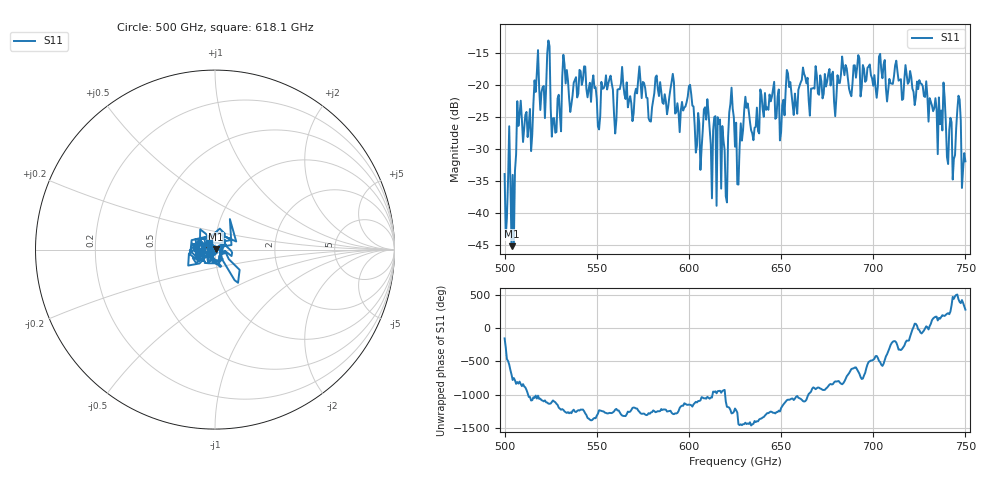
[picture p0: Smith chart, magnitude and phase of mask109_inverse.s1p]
!Created with skrf (http://scikit-rf.org).
# GHz S MA R 50.0
!freq magS11 angS11
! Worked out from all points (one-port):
!   401 points, 500 GHz to 750 GHz, reference 50 ohm
!   lowest |S11| = -45.2 dB at 503.8 GHz (marker M1), VSWR 1.01, Z = 50.5 + j0.202 ohm
!   |S11| at or under -10 dB: start of sweep to end of sweep
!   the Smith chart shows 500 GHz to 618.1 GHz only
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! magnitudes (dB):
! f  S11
! 500 GHz  -33.9
! 503.8 GHz  -45.2
! 505 GHz  -45.2
! 508.1 GHz  -24.5
! 513.8 GHz  -23.7
! 516.9 GHz  -21.0
! 520.6 GHz  -20.3
! 523.8 GHz  -13.0
! 526.9 GHz  -25.1
! 531.2 GHz  -18.8
! 542.5 GHz  -19.1
! 550.6 GHz  -26.5
! 562.5 GHz  -20.6
! 579.4 GHz  -25.7
! 590.6 GHz  -19.4
! 593.8 GHz  -22.8
! 600.6 GHz  -19.9
! 605 GHz  -24.3
! 609.4 GHz  -25.4
! 620 GHz  -37.4
! 623.1 GHz  -20.4
! 625 GHz  -29.6
! 656.2 GHz  -23.0
! 687.5 GHz  -21.2
! 718.8 GHz  -19.8
! 743.8 GHz  -31.5
! 746.2 GHz  -21.6
! 750 GHz  -31.9
